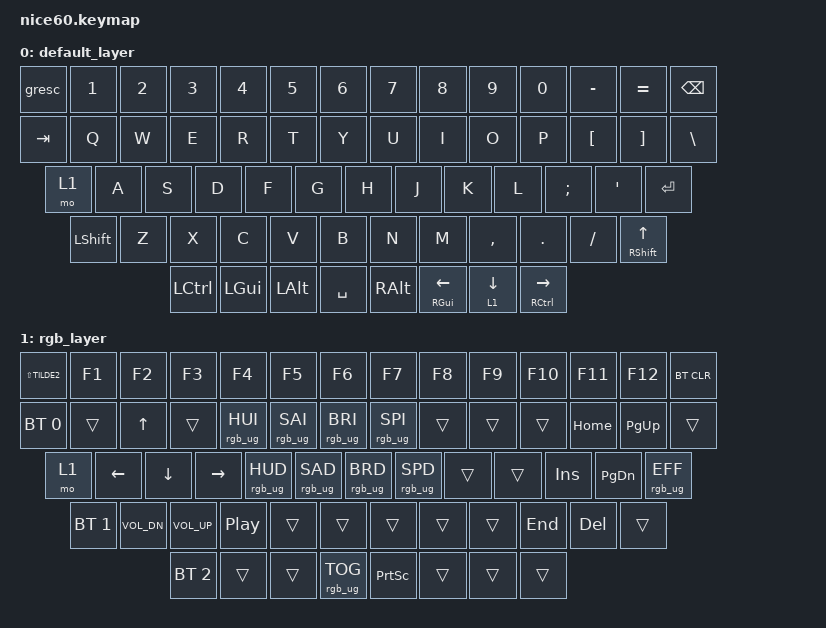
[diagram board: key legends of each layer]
/*
 * Copyright (c) 2021 Nick Winans
 *
 * SPDX-License-Identifier: MIT
 */

#include <behaviors.dtsi>
#include <dt-bindings/zmk/keys.h>
#include <dt-bindings/zmk/rgb.h>
#include <dt-bindings/zmk/bt.h>
#include <dt-bindings/zmk/outputs.h>
#include <dt-bindings/zmk/reset.h>
#include <dt-bindings/zmk/ext_power.h>

/ {
	keymap {
		compatible = "zmk,keymap";
		
		default_layer {
// ------------------------------------------------------------------------------------------
// | ESC |  1  |  2  |  3  |  4  |  5  |  6  |  7  |  8  |  9  |  0  |  -  |  =  |   BKSP   |
// | TAB  |  Q  |  W  |  E  |  R  |  T  |  Y  |  U  |  I  |  O  |  P  |  [  |  ]  |   "|"   |
// | MO(1) |  A  |  S  |  D  |  F  |  G  |  H  |  J  |  K  |  L  |  ;  |  '  |     ENTER    |
// |  SHIFT  |  Z  |  X  |  C  |  V  |  B  |  N  |  M  |  ,  |  .  |  /  |      SHIFT       |
// |  CTL  |  WIN  |  ALT  |            SPACE              |  ALT  |  WIN  |  MO(1) |  CTL  |
// ------------------------------------------------------------------------------------------
			bindings = <
	&gresc  &kp N1 &kp N2 &kp N3 &kp N4 &kp N5 &kp N6 &kp N7 &kp N8 &kp N9 &kp N0 &kp MINUS &kp EQUAL  &kp BSPC
	&kp TAB  &kp Q  &kp W  &kp E  &kp R  &kp T  &kp Y  &kp U  &kp I  &kp O  &kp P  &kp LBKT  &kp RBKT  &kp BSLH
	&mo 1     &kp A  &kp S  &kp D  &kp F  &kp G  &kp H  &kp J  &kp K  &kp L  &kp SEMI &kp SQT           &kp RET
	&kp LSHFT   &kp Z  &kp X  &kp C  &kp V  &kp B  &kp N  &kp M  &kp COMMA &kp DOT &kp FSLH        &mt RSHFT UP
	&kp LCTRL &kp LGUI &kp LALT        &kp SPACE             &kp RALT  &mt RGUI LEFT &lt 1 DOWN &mt RCTRL RIGHT
			>;
		};

		rgb_layer {
// ------------------------------------------------------------------------------------------------
// |  TILDE | F1  | F2  | F3  | F4  | F5  | F6  | F7  | F8  | F9  | F10  | F11 | F12 |   BT CLR   |
// |  BT 0   |   |  UP |   | HUEUP | SATUP | BRIUP | SPDUP |   |    |   | HOME | PGUP |           |
// |  MO(1)   | LT |  DN  | RT | HUEDN | SATDN | BRIDN | SPDDN |  |    | INS | PGDN | EFFECT FORW |
// |   BT 1   | VOLDN | VOLUP | PLAY |     |     |     |     |     | END | DEL |                  |
// |   BT 2  |      |      |             TOG RGB                | PRT SCR |       |       |       |
// ------------------------------------------------------------------------------------------------
			bindings = <
	&kp LS(TILDE2)   &kp F1    &kp F2    &kp F3  &kp F4           &kp F5          &kp F6          &kp F7          &kp F8   &kp F9   &kp F10  &kp F11 &kp F12  &bt  BT_CLR
	&bt BT_SEL 0  &trans    &kp UP    &trans  &rgb_ug RGB_HUI  &rgb_ug RGB_SAI &rgb_ug RGB_BRI &rgb_ug RGB_SPI  &trans   &trans   &trans &kp HOME &kp PG_UP        &trans 
	&mo 1 &kp LEFT  &kp DOWN  &kp RIGHT &rgb_ug RGB_HUD &rgb_ug RGB_SAD &rgb_ug RGB_BRD &rgb_ug RGB_SPD &trans   &trans   &kp INS  &kp PG_DN              &rgb_ug RGB_EFF
	&bt BT_SEL 1 &kp C_VOL_DN &kp C_VOL_UP &kp C_PP &trans          &trans          &trans          &trans          &trans   &kp END  &kp DEL                      &trans
	&bt BT_SEL 2  &trans   &trans                            &rgb_ug RGB_TOG                                      &kp PSCRN      &trans       &trans               &trans
			>;
		};
	};
};
